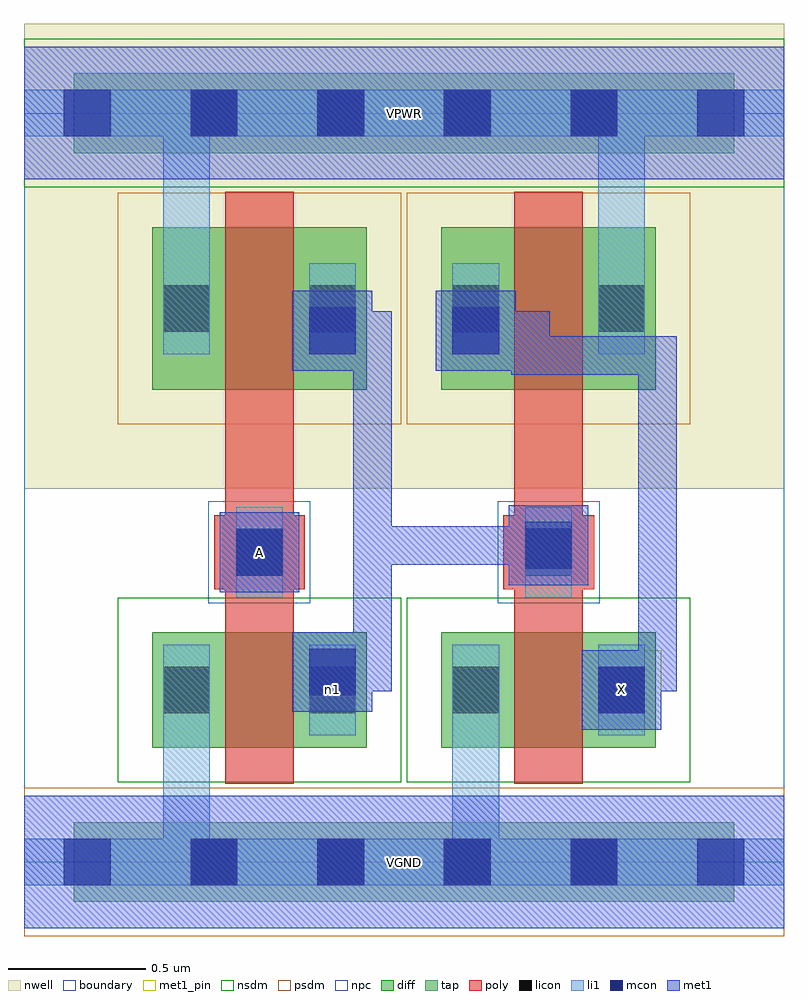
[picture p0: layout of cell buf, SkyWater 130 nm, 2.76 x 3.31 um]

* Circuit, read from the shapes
.subckt buf A VGND VPWR X n1
XM1 n1 A VGND VGND sky130_fd_pr__nfet_01v8 w=0.42 l=0.25
XM2 X n1 VGND VGND sky130_fd_pr__nfet_01v8 w=0.42 l=0.25
XM3 n1 A VPWR VPWR sky130_fd_pr__pfet_01v8 w=0.59 l=0.25
XM4 VPWR n1 X VPWR sky130_fd_pr__pfet_01v8 w=0.59 l=0.25
.ends

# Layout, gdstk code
import gdstk
lib = gdstk.Library(unit=1e-6, precision=1e-09)
def R(c, l, rs):  # rectangles x0, y0, x1, y1
    for r in rs: c.add(gdstk.rectangle(r[:2], r[2:], *l))
def A(c, l, x, y, w, h, nx, ny, dx, dy):  # array of equal rectangles
    R(c, l, [(x+i*dx, y+j*dy, x+i*dx+w, y+j*dy+h) for i in range(nx) for j in range(ny)])
nwell = (64, 20)
diff = (65, 20)
tap = (65, 44)
poly = (66, 20)
licon = (66, 44)
li1 = (67, 20)
mcon = (67, 44)
met1_pin = (68, 16)
met1 = (68, 20)
nsdm = (93, 44)
psdm = (94, 20)
npc = (95, 20)
boundary = (235, 4)

buf = lib.new_cell('buf')
R(buf, nwell, [(0,1.355,2.76,3.045)])
R(buf, diff, [(0.465,0.415,1.245,0.835), (1.515,0.415,2.295,0.835), (0.465,1.715,1.245,2.305), (1.515,1.715,2.295,2.305)])
R(buf, tap, [(0.18,-0.145,2.58,0.145), (0.18,2.575,2.58,2.865)])
R(buf, poly, [(0.73,0.285,0.98,2.435), (1.78,0.285,2.03,2.435), (0.69,0.99,1.02,1.26), (1.74,0.99,2.07,1.26)])
A(buf, licon, 0.605, -0.085, 0.17, 0.17, 4, 2, 0.46, 2.72)
R(buf, licon, [(0.505,0.54,0.675,0.71), (1.035,0.54,1.205,0.71), (1.555,0.54,1.725,0.71), (2.085,0.54,2.255,0.71), (0.77,1.04,0.94,1.21), (1.82,1.04,1.99,1.21), (0.505,1.925,0.675,2.095), (1.035,1.925,1.205,2.095), (1.555,1.925,1.725,2.095), (2.085,1.925,2.255,2.095)])
R(buf, li1, [(0,-0.085,2.76,0.085), (0.505,-0.085,0.675,0.79), (1.555,-0.085,1.725,0.79), (0.505,0.46,0.675,0.79), (1.035,0.46,1.205,0.79), (1.555,0.46,1.725,0.79), (2.085,0.46,2.255,0.79), (0.77,0.96,0.94,1.29), (1.82,0.96,1.99,1.29), (0.505,1.845,0.675,2.175), (0.505,1.845,0.675,2.805), (1.035,1.845,1.205,2.175), (1.555,1.845,1.725,2.175), (2.085,1.845,2.255,2.175), (2.085,1.845,2.255,2.805), (0,2.635,2.76,2.805)])
A(buf, mcon, 0.145, -0.085, 0.17, 0.17, 6, 2, 0.46, 2.72)
R(buf, mcon, [(2.085,0.54,2.255,0.71), (1.035,0.605,1.205,0.775), (0.77,1.04,0.94,1.21), (1.82,1.065,1.99,1.235), (1.035,1.845,1.205,2.015), (1.555,1.845,1.725,2.015)])
R(buf, met1_pin, [(0,-0.24,2.76,0.24), (2.025,0.48,2.315,0.77), (0.71,0.98,1,1.27), (0,2.48,2.76,2.96)])
R(buf, met1, [(0,-0.24,2.76,0.24), (2.025,0.48,2.315,0.77), (0.975,0.545,1.265,0.835), (1.05,0.62,1.335,0.76), (1.195,0.62,1.335,1.22), (2.115,0.62,2.255,0.76), (2.115,0.62,2.37,0.76), (2.23,0.62,2.37,1.91), (0.71,0.98,1,1.27), (1.76,1.005,2.05,1.295), (1.195,1.08,1.795,1.22), (1.195,1.08,1.335,1.91), (1.655,1.08,1.975,1.22), (1.195,1.77,1.335,2), (1.77,1.77,2.37,1.91), (1.77,1.77,1.91,2), (0.975,1.785,1.265,2.075), (1.495,1.785,1.785,2.075), (1.05,1.86,1.335,2), (1.57,1.86,1.91,2), (0,2.48,2.76,2.96)])
R(buf, nsdm, [(0.34,0.29,1.37,0.96), (1.39,0.29,2.42,0.96), (0,2.45,2.76,2.99)])
R(buf, psdm, [(0,-0.27,2.76,0.27), (0.34,1.59,1.37,2.43), (1.39,1.59,2.42,2.43)])
R(buf, npc, [(0.67,0.94,1.04,1.31), (1.72,0.94,2.09,1.31)])
R(buf, boundary, [(0,0,2.76,2.72)])
buf.add(gdstk.Label('n1', (1.12,0.625), layer=67, texttype=5))
buf.add(gdstk.Label('A', (0.855,1.125), layer=68, texttype=5))
buf.add(gdstk.Label('X', (2.17,0.625), layer=68, texttype=5))
buf.add(gdstk.Label('VPWR', (1.38,2.72), layer=68, texttype=5))
buf.add(gdstk.Label('VGND', (1.38,0), layer=68, texttype=5))
buf.add(gdstk.Label('A', (0.855,1.125), layer=68, texttype=16))
buf.add(gdstk.Label('X', (2.17,0.625), layer=68, texttype=16))
buf.add(gdstk.Label('VPWR', (1.38,2.72), layer=68, texttype=16))
buf.add(gdstk.Label('VGND', (1.38,0), layer=68, texttype=16))

lib.write_gds('buf.gds')
